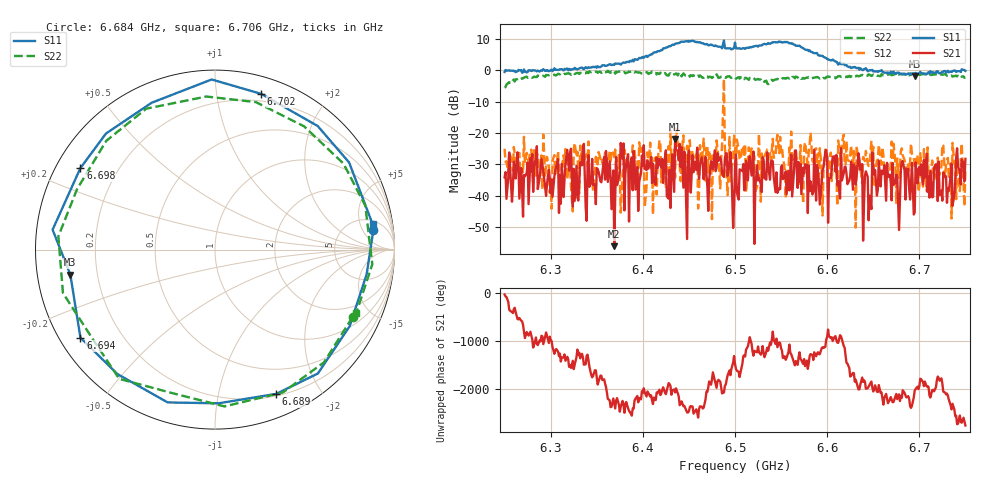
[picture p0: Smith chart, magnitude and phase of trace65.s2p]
# Hz S RI R 50
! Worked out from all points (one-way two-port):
!   401 points, 6.25 GHz to 6.75 GHz, reference 50 ohm
!   highest |S21| = -21.93 dB at 6.435 GHz (marker M1); lowest = -56.2 dB at 6.369 GHz (marker M2)
!   lowest |S11| = -1.7 dB at 6.695 GHz (marker M3), VSWR 9.99, Z = 5.04 - j4.28 ohm
!   |S11| at or under -10 dB: nowhere
!   |S22| runs from -5.4 to -0.1 dB; largest |S21 - S12| = 0.71
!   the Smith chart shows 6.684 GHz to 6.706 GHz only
!   S11 on the Smith chart (normalised r, x): 6.684 GHz: 8, +8; 6.689 GHz: 0.22, -1.49; 6.694 GHz: 0.06, -0.30; 6.698 GHz: 0.07, +0.28; 6.702 GHz: 0.14, +1.33; 6.706 GHz: 6, +8
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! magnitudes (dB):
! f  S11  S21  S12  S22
! 6.25 GHz  -0.5  -34.1  -25.1  -5.4
! 6.311 GHz  0.4  -42.6  -30.6  -1.0
! 6.32 GHz  0.5  -32.0  -29.2  -1.0
! 6.329 GHz  0.4  -40.6  -26.0  -0.8
! 6.334 GHz  0.9  -30.3  -29.4  -0.9
! 6.369 GHz  1.8  -56.2  -27.7  -0.2
! 6.376 GHz  1.8  -23.2  -45.4  -0.4
! 6.418 GHz  6.2  -28.2  -22.3  -1.2
! 6.429 GHz  7.8  -31.9  -38.1  -1.0
! 6.435 GHz  8.5  -21.9  -34.3  -1.2
! 6.5 GHz  8.9  -31.2  -23.7  -2.1
! 6.525 GHz  7.6  -35.1  -31.2  -2.7
! 6.584 GHz  5.8  -39.7  -29.0  -2.4
! 6.668 GHz  -1.0  -33.3  -31.7  -1.2
! 6.684 GHz  -1.0  -32.0  -28.7  -1.4
! 6.689 GHz  -1.2  -38.0  -32.0  -1.6
! 6.694 GHz  -1.0  -46.1  -27.8  -1.2
! 6.695 GHz  -1.7  -45.4  -31.4  -1.5
! 6.698 GHz  -1.1  -36.1  -27.0  -1.2
! 6.702 GHz  -0.9  -30.0  -30.7  -1.3
! 6.706 GHz  -1.0  -34.3  -33.2  -1.3
! 6.75 GHz  -0.2  -28.3  -31.8  -2.2
